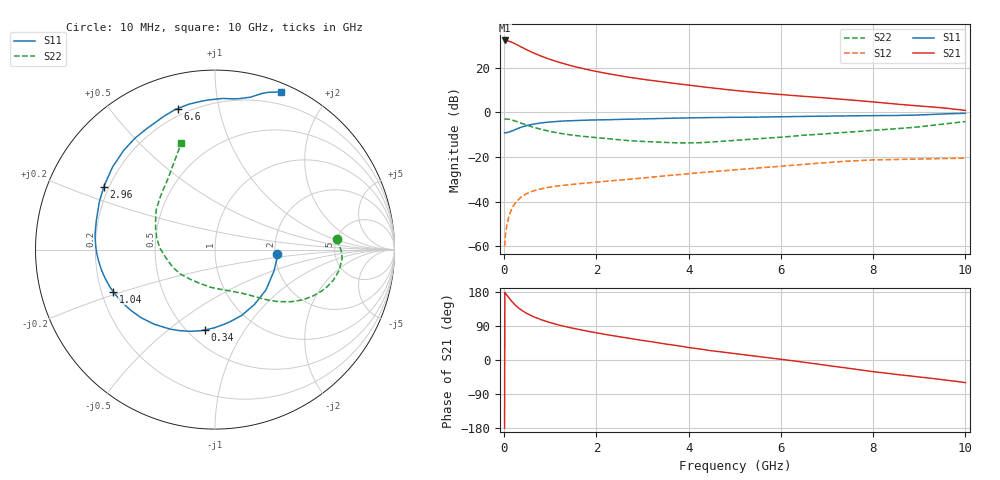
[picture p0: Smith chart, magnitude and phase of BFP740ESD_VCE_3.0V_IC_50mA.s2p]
! Infineon Technologies  Discrete & RF Semiconductors
! BFP740ESD
! VCE =  3.0 V,  IC =  50 mA
! Common Emitter S-Parameters:  Jan 2016
# GHz  S  MA  R  50
!  f  S11  S21  S12  S22
! GHz  MAG  ANG  MAG  ANG  MAG  ANG  MAG  ANG
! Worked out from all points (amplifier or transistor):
!   233 points, 10 MHz to 10 GHz, reference 50 ohm
!   highest |S21| = 32.2 dB at 20 MHz (marker M1)
!   |S21| within 3 dB of that: start of sweep to 378.4 MHz
!   unconditionally stable (mu >= 1): start of sweep to 148.3 MHz; 1.792 GHz to 9.003 GHz
!   at 200 MHz: K = 0.84, MSG = 36.5 dB, |S12| = -41.9 dB
!   at 1.74 GHz: K = 0.99, MSG = 25.6 dB, |S12| = -31.8 dB
!   at 10 GHz: K = 0.62, MSG = 10.7 dB, |S12| = -20.5 dB
!   S11 on the Smith chart (normalised r, x): 10 MHz: 2.06, -0.12; 340 MHz: 0.60, -0.68; 1.04 GHz: 0.25, -0.19; 2.96 GHz: 0.18, +0.25; 6.6 GHz: 0.16, +0.76; 10 GHz: 0.08, +1.50
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0.01  0.3478 -4.4  40.49 -179.7  0.001 52.4  0.6842 4.8
0.02  0.3489 -8.9  40.79 177.0  0.0015 62.6  0.7026 -0.4
0.1  0.3621 -38.3  39.61 164.3  0.0045 66.6  0.7015 -9.5
0.16  0.3788 -57.1  37.55 155.4  0.0066 64.8  0.6761 -15.2
0.2  0.3959 -68.0  36 150.0  0.008 63.9  0.6572 -18.5
0.24  0.4095 -77.8  34.24 145.1  0.0092 61.9  0.636 -21.4
0.3  0.4354 -90.3  31.88 138.5  0.0109 59.2  0.6051 -25.2
0.34  0.4522 -97.4  30.3 134.9  0.0119 57.6  0.5847 -27.4
0.45  0.4917 -113.2  26.45 125.8  0.0143 53.5  0.5338 -32.5
0.6  0.5364 -129.2  22.25 116.1  0.0168 48.7  0.4753 -37.7
0.8  0.5788 -144.3  18.18 106.4  0.0193 44.5  0.4164 -42.8
1.04  0.6133 -157.6  14.81 97.2  0.0214 41.3  0.3655 -47.4
1.3  0.6399 -168.5  12.24 88.9  0.0232 39.6  0.327 -51.6
1.68  0.6631 179.3  9.71 79.0  0.0254 38.7  0.2911 -57.2
2.2  0.681 166.0  7.501 67.3  0.0284 39.0  0.2586 -65.3
2.96  0.7107 150.8  5.589 52.4  0.0334 40.0  0.2236 -81.9
3.4  0.7275 142.9  4.857 44.3  0.0369 40.0  0.2126 -93.9
5.1  0.7735 119.6  3.02 15.5  0.0523 35.6  0.2387 -147.3
6.6  0.8125 104.9  2.241 -7.6  0.0695 27.3  0.3115 176.3
6.8  0.8172 102.5  2.161 -10.8  0.0721 25.7  0.3209 172.3
8.4  0.8468 82.6  1.563 -36.5  0.0874 8.6  0.421 136.8
10  0.9529 67.2  1.105 -59.6  0.0941 -5.7  0.6211 107.7
